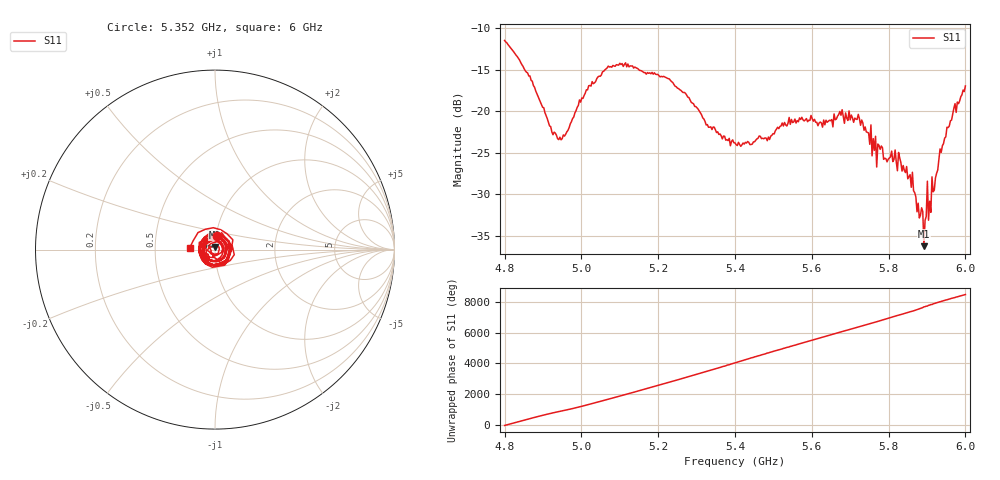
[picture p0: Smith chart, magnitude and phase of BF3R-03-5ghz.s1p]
! NanoVNA-App
! Date: 2026-05-22 16:07:31
! Start: 4.8GHz Stop: 6GHz Points: 401
! S-Parameter data: F S11
# Hz S RI R 50
!  Frequency  S11_Real  S11_Imag
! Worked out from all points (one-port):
!   401 points, 4.8 GHz to 6 GHz, reference 50 ohm
!   lowest |S11| = -36.2 dB at 5.892 GHz (marker M1), VSWR 1.03, Z = 49.7 + j1.51 ohm
!   |S11| at or under -10 dB: start of sweep to end of sweep
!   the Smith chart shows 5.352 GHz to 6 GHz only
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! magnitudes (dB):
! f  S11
! 4.8 GHz  -11.5
! 4.866 GHz  -15.8
! 4.923 GHz  -22.5
! 4.95 GHz  -23.3
! 5.022 GHz  -16.9
! 5.067 GHz  -14.8
! 5.1 GHz  -14.2
! 5.22 GHz  -16.0
! 5.25 GHz  -17.2
! 5.328 GHz  -21.6
! 5.4 GHz  -23.8
! 5.487 GHz  -23.1
! 5.55 GHz  -21.4
! 5.7 GHz  -21.0
! 5.727 GHz  -21.7
! 5.76 GHz  -23.3
! 5.763 GHz  -24.7
! 5.778 GHz  -24.6
! 5.793 GHz  -25.7
! 5.823 GHz  -27.2
! 5.85 GHz  -28.1
! 5.862 GHz  -27.3
! 5.886 GHz  -31.6
! 5.892 GHz  -36.2
! 5.907 GHz  -30.8
! 5.91 GHz  -32.2
! 5.946 GHz  -23.2
! 6 GHz  -17.0
